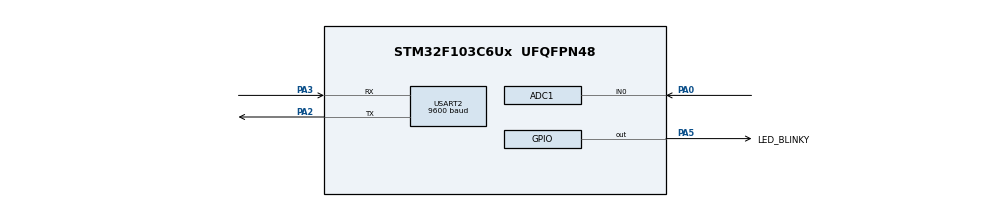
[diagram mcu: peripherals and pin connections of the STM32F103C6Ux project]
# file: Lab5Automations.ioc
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ADC1.Channel-0\#ChannelRegularConversion=ADC_CHANNEL_0
ADC1.ContinuousConvMode=ENABLE
ADC1.NbrOfConversionFlag=1
ADC1.Rank-0\#ChannelRegularConversion=1
ADC1.SamplingTime-0\#ChannelRegularConversion=ADC_SAMPLETIME_1CYCLE_5
ADC1.master=1
Mcu.Family=STM32F1
Mcu.Name=STM32F103C6Ux
Mcu.Package=UFQFPN48
NVIC.PriorityGroup=NVIC_PRIORITYGROUP_4
NVIC.TIM2_IRQn=true\:0\:0\:false\:false\:true\:true\:true
NVIC.USART2_IRQn=true\:0\:0\:false\:false\:true\:true\:true
PA0-WKUP.Signal=ADCx_IN0
PA2.Mode=Asynchronous
PA2.Signal=USART2_TX
PA3.Mode=Asynchronous
PA3.Signal=USART2_RX
PA5.GPIO_Label=LED_BLINKY
PA5.Signal=GPIO_Output
ProjectManager.HeapSize=0x200
ProjectManager.StackSize=0x400
ProjectManager.TargetToolchain=STM32CubeIDE
RCC.APB1Freq_Value=8000000
RCC.APB2Freq_Value=8000000
SH.ADCx_IN0.0=ADC1_IN0,IN0
TIM2.Period=7999
TIM2.Prescaler=9
USART2.BaudRate=9600
USART2.VirtualMode=VM_ASYNC
VP_SYS_VS_ND.Mode=No_Debug
VP_TIM2_VS_ClockSourceINT.Mode=Internal
board=custom

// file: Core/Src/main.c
/* USER CODE BEGIN Header */
/**
  ******************************************************************************
  * @file           : main.c
  * @brief          : Main program body
  ******************************************************************************
  * @attention
  *
  * <h2><center>&copy; Copyright (c) 2025 STMicroelectronics.
  * All rights reserved.</center></h2>
  *
  * This software component is licensed by ST under BSD 3-Clause license,
  * the "License"; You may not use this file except in compliance with the
  * License. You may obtain a copy of the License at:
  *                        opensource.org/licenses/BSD-3-Clause
  *
  ******************************************************************************
  */
/* USER CODE END Header */
#include "main.h"

/* USER CODE BEGIN Includes */
#include "global.h"
#include "software_timer.h"
#include "command_parser.h"
#include "uart_com_fsm.h"

/* USER CODE END Includes */

ADC_HandleTypeDef hadc1;

TIM_HandleTypeDef htim2;

UART_HandleTypeDef huart2;

void SystemClock_Config(void);
static void MX_GPIO_Init(void);
static void MX_USART2_UART_Init(void);
static void MX_ADC1_Init(void);
static void MX_TIM2_Init(void);

/* USER CODE BEGIN 0 */
uint8_t temp = 0;

void HAL_UART_RxCpltCallback ( UART_HandleTypeDef * huart ) {
	if (huart->Instance == USART2 ) {
		//HAL_UART_Transmit(&huart2, &temp, 1, 50);
		buffer_chr[idx_buffer++] = temp;
		if (idx_buffer == MAX_BUFFER_SIZE) idx_buffer = 0;
		command_flag = 1;
		buffer_flag = 1;
		HAL_UART_Receive_IT(&huart2, &temp, 1);
		status_uart = UART_TRANS;
	}
}

/* USER CODE END 0 */

int main(void)
{

  /* MCU Configuration--------------------------------------------------------*/

  /* Reset of all peripherals, Initializes the Flash interface and the Systick. */
  HAL_Init();

  /* Configure the system clock */
  SystemClock_Config();

  /* Initialize all configured peripherals */
  MX_GPIO_Init();
  MX_USART2_UART_Init();
  MX_ADC1_Init();
  MX_TIM2_Init();
  /* USER CODE BEGIN 2 */
  HAL_TIM_Base_Start_IT(&htim2);
  HAL_ADC_Start(&hadc1);
  HAL_UART_Receive_IT(&huart2, &temp, 1);
  /* USER CODE END 2 */

  /* Infinite loop */
  /* USER CODE BEGIN WHILE */
  status_com = COM_IDLE;
  status_uart = UART_TRANS;
  setTimer(1, 300);
  while (1)
  {
	  //char welcome[50];
	  if(buffer_flag == 1){
		 buffer_flag = 0;
	 	 command_parser();
	 	 //HAL_UART_Transmit(&huart2, (void *)welcome, sprintf(welcome, "%d\n", status_com), 50);  //DEBUG
	 }
	 uart_communication_fsm();
    /* USER CODE END WHILE */

  }
}

void SystemClock_Config(void)
{
  RCC_OscInitTypeDef RCC_OscInitStruct = {0};
  RCC_ClkInitTypeDef RCC_ClkInitStruct = {0};
  RCC_PeriphCLKInitTypeDef PeriphClkInit = {0};

  /** Initializes the RCC Oscillators according to the specified parameters
  * in the RCC_OscInitTypeDef structure.
  */
  RCC_OscInitStruct.OscillatorType = RCC_OSCILLATORTYPE_HSI;
  RCC_OscInitStruct.HSIState = RCC_HSI_ON;
  RCC_OscInitStruct.HSICalibrationValue = RCC_HSICALIBRATION_DEFAULT;
  RCC_OscInitStruct.PLL.PLLState = RCC_PLL_NONE;
  if (HAL_RCC_OscConfig(&RCC_OscInitStruct) != HAL_OK)
  {
    Error_Handler();
  }
  /** Initializes the CPU, AHB and APB buses clocks
  */
  RCC_ClkInitStruct.ClockType = RCC_CLOCKTYPE_HCLK|RCC_CLOCKTYPE_SYSCLK
                              |RCC_CLOCKTYPE_PCLK1|RCC_CLOCKTYPE_PCLK2;
  RCC_ClkInitStruct.SYSCLKSource = RCC_SYSCLKSOURCE_HSI;
  RCC_ClkInitStruct.AHBCLKDivider = RCC_SYSCLK_DIV1;
  RCC_ClkInitStruct.APB1CLKDivider = RCC_HCLK_DIV1;
  RCC_ClkInitStruct.APB2CLKDivider = RCC_HCLK_DIV1;

  if (HAL_RCC_ClockConfig(&RCC_ClkInitStruct, FLASH_LATENCY_0) != HAL_OK)
  {
    Error_Handler();
  }
  PeriphClkInit.PeriphClockSelection = RCC_PERIPHCLK_ADC;
  PeriphClkInit.AdcClockSelection = RCC_ADCPCLK2_DIV2;
  if (HAL_RCCEx_PeriphCLKConfig(&PeriphClkInit) != HAL_OK)
  {
    Error_Handler();
  }
}

static void MX_ADC1_Init(void)
{

  ADC_ChannelConfTypeDef sConfig = {0};

  /** Common config
  */
  hadc1.Instance = ADC1;
  hadc1.Init.ScanConvMode = ADC_SCAN_DISABLE;
  hadc1.Init.ContinuousConvMode = ENABLE;
  hadc1.Init.DiscontinuousConvMode = DISABLE;
  hadc1.Init.ExternalTrigConv = ADC_SOFTWARE_START;
  hadc1.Init.DataAlign = ADC_DATAALIGN_RIGHT;
  hadc1.Init.NbrOfConversion = 1;
  if (HAL_ADC_Init(&hadc1) != HAL_OK)
  {
    Error_Handler();
  }
  /** Configure Regular Channel
  */
  sConfig.Channel = ADC_CHANNEL_0;
  sConfig.Rank = ADC_REGULAR_RANK_1;
  sConfig.SamplingTime = ADC_SAMPLETIME_1CYCLE_5;
  if (HAL_ADC_ConfigChannel(&hadc1, &sConfig) != HAL_OK)
  {
    Error_Handler();
  }

}

static void MX_TIM2_Init(void)
{

  TIM_ClockConfigTypeDef sClockSourceConfig = {0};
  TIM_MasterConfigTypeDef sMasterConfig = {0};

  htim2.Instance = TIM2;
  htim2.Init.Prescaler = 9;
  htim2.Init.CounterMode = TIM_COUNTERMODE_UP;
  htim2.Init.Period = 7999;
  htim2.Init.ClockDivision = TIM_CLOCKDIVISION_DIV1;
  htim2.Init.AutoReloadPreload = TIM_AUTORELOAD_PRELOAD_DISABLE;
  if (HAL_TIM_Base_Init(&htim2) != HAL_OK)
  {
    Error_Handler();
  }
  sClockSourceConfig.ClockSource = TIM_CLOCKSOURCE_INTERNAL;
  if (HAL_TIM_ConfigClockSource(&htim2, &sClockSourceConfig) != HAL_OK)
  {
    Error_Handler();
  }
  sMasterConfig.MasterOutputTrigger = TIM_TRGO_RESET;
  sMasterConfig.MasterSlaveMode = TIM_MASTERSLAVEMODE_DISABLE;
  if (HAL_TIMEx_MasterConfigSynchronization(&htim2, &sMasterConfig) != HAL_OK)
  {
    Error_Handler();
  }

}

static void MX_USART2_UART_Init(void)
{

  huart2.Instance = USART2;
  huart2.Init.BaudRate = 9600;
  huart2.Init.WordLength = UART_WORDLENGTH_8B;
  huart2.Init.StopBits = UART_STOPBITS_1;
  huart2.Init.Parity = UART_PARITY_NONE;
  huart2.Init.Mode = UART_MODE_TX_RX;
  huart2.Init.HwFlowCtl = UART_HWCONTROL_NONE;
  huart2.Init.OverSampling = UART_OVERSAMPLING_16;
  if (HAL_UART_Init(&huart2) != HAL_OK)
  {
    Error_Handler();
  }

}

static void MX_GPIO_Init(void)
{
  GPIO_InitTypeDef GPIO_InitStruct = {0};

  /* GPIO Ports Clock Enable */
  __HAL_RCC_GPIOA_CLK_ENABLE();

  /*Configure GPIO pin Output Level */
  HAL_GPIO_WritePin(LED_BLINKY_GPIO_Port, LED_BLINKY_Pin, GPIO_PIN_RESET);

  /*Configure GPIO pin : LED_BLINKY_Pin */
  GPIO_InitStruct.Pin = LED_BLINKY_Pin;
  GPIO_InitStruct.Mode = GPIO_MODE_OUTPUT_PP;
  GPIO_InitStruct.Pull = GPIO_NOPULL;
  GPIO_InitStruct.Speed = GPIO_SPEED_FREQ_LOW;
  HAL_GPIO_Init(LED_BLINKY_GPIO_Port, &GPIO_InitStruct);

}

/* USER CODE BEGIN 4 */
void HAL_TIM_PeriodElapsedCallback(TIM_HandleTypeDef *htim){
	timerRun();
}

/* USER CODE END 4 */

void Error_Handler(void)
{
  __disable_irq();
  while (1)
  {
  }
}

/************************ (C) COPYRIGHT STMicroelectronics *****END OF FILE****/
